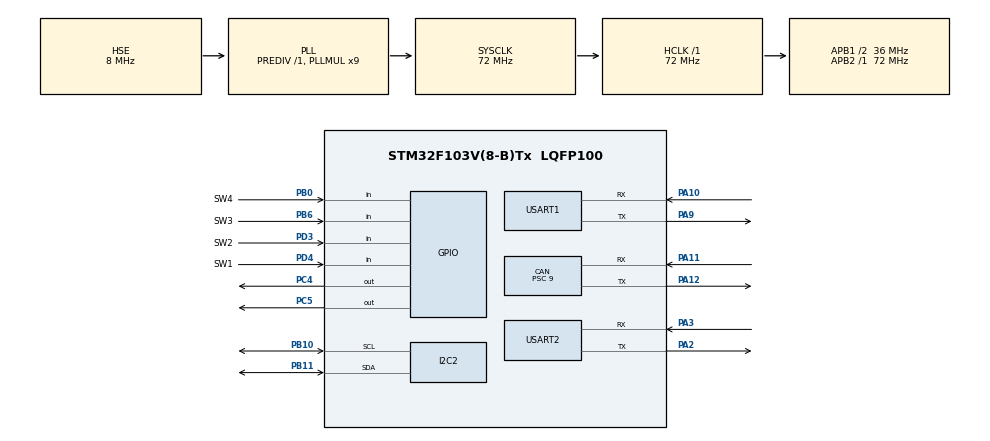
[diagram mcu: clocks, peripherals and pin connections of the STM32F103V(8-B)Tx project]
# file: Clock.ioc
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CAN.BS1=CAN_BS1_8TQ
CAN.BS2=CAN_BS2_7TQ
CAN.CalculateBaudRate=250000
CAN.CalculateTimeBit=4000
CAN.CalculateTimeQuantum=250.0
CAN.Prescaler=9
Mcu.Family=STM32F1
Mcu.Name=STM32F103V(8-B)Tx
Mcu.Package=LQFP100
NVIC.CAN1_RX1_IRQn=true\:0\:0\:false\:false\:true\:true\:true
NVIC.PriorityGroup=NVIC_PRIORITYGROUP_4
NVIC.TIM1_BRK_IRQn=true\:0\:0\:false\:false\:true\:true\:true
NVIC.TIM1_UP_IRQn=true\:0\:0\:false\:false\:true\:true\:true
NVIC.TIM2_IRQn=true\:0\:0\:false\:false\:true\:true\:true
NVIC.USART1_IRQn=true\:0\:0\:false\:false\:true\:true\:true
NVIC.USART2_IRQn=true\:0\:0\:false\:false\:true\:true\:true
NVIC.USB_LP_CAN1_RX0_IRQn=true\:0\:0\:false\:false\:true\:true\:true
OSC_IN.Mode=HSE-External-Oscillator
OSC_IN.Signal=RCC_OSC_IN
OSC_OUT.Mode=HSE-External-Oscillator
OSC_OUT.Signal=RCC_OSC_OUT
PA10.Mode=Asynchronous
PA10.Signal=USART1_RX
PA11.Mode=CAN_Activate
PA11.Signal=CAN_RX
PA12.Mode=CAN_Activate
PA12.Signal=CAN_TX
PA13.Mode=Serial_Wire
PA13.Signal=SYS_JTMS-SWDIO
PA14.Mode=Serial_Wire
PA14.Signal=SYS_JTCK-SWCLK
PA2.Mode=Asynchronous
PA2.Signal=USART2_TX
PA3.Mode=Asynchronous
PA3.Signal=USART2_RX
PA9.Mode=Asynchronous
PA9.Signal=USART1_TX
PB0.GPIO_Label=SW4
PB0.Signal=GPIO_Input
PB10.Mode=I2C
PB10.Signal=I2C2_SCL
PB11.Mode=I2C
PB11.Signal=I2C2_SDA
PB6.GPIO_Label=SW3
PB6.Signal=GPIO_Input
PC4.Signal=GPIO_Output
PC5.Signal=GPIO_Output
PD3.GPIO_Label=SW2
PD3.Signal=GPIO_Input
PD4.GPIO_Label=SW1
PD4.Signal=GPIO_Input
ProjectManager.HeapSize=0x200
ProjectManager.StackSize=0x400
ProjectManager.TargetToolchain=STM32CubeIDE
RCC.AHBFreq_Value=72000000
RCC.APB1CLKDivider=RCC_HCLK_DIV2
RCC.APB1Freq_Value=36000000
RCC.APB1TimFreq_Value=72000000
RCC.APB2Freq_Value=72000000
RCC.APB2TimFreq_Value=72000000
RCC.HCLKFreq_Value=72000000
RCC.PLLMUL=RCC_PLL_MUL9
RCC.PLLSourceVirtual=RCC_PLLSOURCE_HSE
RCC.SYSCLKFreq_VALUE=72000000
RCC.SYSCLKSource=RCC_SYSCLKSOURCE_PLLCLK
RCC.USBFreq_Value=72000000
TIM1.Channel-Output\ Compare1\ No\ Output=TIM_CHANNEL_1
TIM1.Period=59999
TIM1.Prescaler=1199
TIM2.Channel-Output\ Compare1\ No\ Output=TIM_CHANNEL_1
TIM2.Period=29999
TIM2.Prescaler=1199
USART1.VirtualMode=VM_ASYNC
USART2.VirtualMode=VM_ASYNC
VP_TIM1_VS_ClockSourceINT.Mode=Internal
VP_TIM1_VS_no_output1.Mode=Output Compare1 No Output
VP_TIM2_VS_ClockSourceINT.Mode=Internal
VP_TIM2_VS_no_output1.Mode=Output Compare1 No Output
board=custom

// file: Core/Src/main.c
/* USER CODE BEGIN Header */
/**
  ******************************************************************************
  * @file           : main.c
  * @brief          : Main program body
  ******************************************************************************
  * @attention
  *
  * <h2><center>&copy; Copyright (c) 2022 STMicroelectronics.
  * All rights reserved.</center></h2>
  *
  * This software component is licensed by ST under BSD 3-Clause license,
  * the "License"; You may not use this file except in compliance with the
  * License. You may obtain a copy of the License at:
  *                        opensource.org/licenses/BSD-3-Clause
  *
  ******************************************************************************
  */
/* USER CODE END Header */
#include "main.h"

/* USER CODE BEGIN Includes */
#include "can1.h"
#include "usart.h"
#include "ssd1306.h"
#include "ssd1306_tests.h"
#include <stdbool.h>
#include <stdio.h>
/* USER CODE END Includes */

CAN_HandleTypeDef hcan;

I2C_HandleTypeDef hi2c2;

TIM_HandleTypeDef htim1;
TIM_HandleTypeDef htim2;

UART_HandleTypeDef huart1;
UART_HandleTypeDef huart2;

/* USER CODE BEGIN PV */
int clockmode = 0;
int second = 0;
int minute = 0;
int hour = 0;
int year = 2022;
int month = 5;
int date = 29;
int alarm1[3]={0,0,0},alarm2[3]={0,0,0};
char line1[12],line2[12],line3[12];
int twinkle = 0;
/* USER CODE END PV */

void SystemClock_Config(void);
static void MX_GPIO_Init(void);
static void MX_I2C2_Init(void);
static void MX_TIM1_Init(void);
static void MX_TIM2_Init(void);
static void MX_CAN_Init(void);
static void MX_USART1_UART_Init(void);
static void MX_USART2_UART_Init(void);
/* USER CODE BEGIN PFP */
void mode_check();
void oled_show();
void show_time();
void show_calendar();
void show_alarm();
void show_set();
void show_error();
int check_date();
int check_sw();
void set_date();
/* USER CODE END PFP */

int main(void)
{

  /* MCU Configuration--------------------------------------------------------*/

  /* Reset of all peripherals, Initializes the Flash interface and the Systick. */
  HAL_Init();

  /* Configure the system clock */
  SystemClock_Config();

  /* Initialize all configured peripherals */
  MX_GPIO_Init();
  MX_I2C2_Init();
  MX_TIM1_Init();
  MX_TIM2_Init();
  MX_CAN_Init();
  MX_USART1_UART_Init();
  MX_USART2_UART_Init();
  /* USER CODE BEGIN 2 */
  RetargetInit(&huart1);//将printf()函数映射到UART1串口上
  HAL_UART_Receive_IT(&huart1,(uint8_t *)&USART1_NewData,1);//开启串口1接收中断
  HAL_UART_Receive_IT(&huart2,(uint8_t *)&USART2_NewData,1); //开启串口2接收中断
//HAL_CAN_MspDeInit(&hcan);//关闭CAN功能，使USB功能可被电脑识别（因USB与CAN共用RAM空间，不能同时使用）
  HAL_CAN_MspInit(&hcan);//开启CAN功能（因USB与CAN共用RAM，不能同时使用，USB用完后想用CAN可在CAN收发前打开）
  CAN_User_Init(&hcan);//CAN1总线用户层初始化 同时开启CAN1功能
  ssd1306_Init();
  HAL_TIM_Base_Start_IT(&htim1);
  HAL_TIM_Base_Start_IT(&htim2);
  /* USER CODE END 2 */

  /* Infinite loop */
  /* USER CODE BEGIN WHILE */
  while (1)
  {
	  mode_check();
	  oled_show();
    /* USER CODE END WHILE */

  }
}

void SystemClock_Config(void)
{
  RCC_OscInitTypeDef RCC_OscInitStruct = {0};
  RCC_ClkInitTypeDef RCC_ClkInitStruct = {0};

  /** Initializes the RCC Oscillators according to the specified parameters
  * in the RCC_OscInitTypeDef structure.
  */
  RCC_OscInitStruct.OscillatorType = RCC_OSCILLATORTYPE_HSE;
  RCC_OscInitStruct.HSEState = RCC_HSE_ON;
  RCC_OscInitStruct.HSEPredivValue = RCC_HSE_PREDIV_DIV1;
  RCC_OscInitStruct.HSIState = RCC_HSI_ON;
  RCC_OscInitStruct.PLL.PLLState = RCC_PLL_ON;
  RCC_OscInitStruct.PLL.PLLSource = RCC_PLLSOURCE_HSE;
  RCC_OscInitStruct.PLL.PLLMUL = RCC_PLL_MUL9;
  if (HAL_RCC_OscConfig(&RCC_OscInitStruct) != HAL_OK)
  {
    Error_Handler();
  }
  /** Initializes the CPU, AHB and APB buses clocks
  */
  RCC_ClkInitStruct.ClockType = RCC_CLOCKTYPE_HCLK|RCC_CLOCKTYPE_SYSCLK
                              |RCC_CLOCKTYPE_PCLK1|RCC_CLOCKTYPE_PCLK2;
  RCC_ClkInitStruct.SYSCLKSource = RCC_SYSCLKSOURCE_PLLCLK;
  RCC_ClkInitStruct.AHBCLKDivider = RCC_SYSCLK_DIV1;
  RCC_ClkInitStruct.APB1CLKDivider = RCC_HCLK_DIV2;
  RCC_ClkInitStruct.APB2CLKDivider = RCC_HCLK_DIV1;

  if (HAL_RCC_ClockConfig(&RCC_ClkInitStruct, FLASH_LATENCY_2) != HAL_OK)
  {
    Error_Handler();
  }
}

static void MX_CAN_Init(void)
{

  hcan.Instance = CAN1;
  hcan.Init.Prescaler = 9;
  hcan.Init.Mode = CAN_MODE_NORMAL;
  hcan.Init.SyncJumpWidth = CAN_SJW_1TQ;
  hcan.Init.TimeSeg1 = CAN_BS1_8TQ;
  hcan.Init.TimeSeg2 = CAN_BS2_7TQ;
  hcan.Init.TimeTriggeredMode = DISABLE;
  hcan.Init.AutoBusOff = DISABLE;
  hcan.Init.AutoWakeUp = DISABLE;
  hcan.Init.AutoRetransmission = DISABLE;
  hcan.Init.ReceiveFifoLocked = DISABLE;
  hcan.Init.TransmitFifoPriority = DISABLE;
  if (HAL_CAN_Init(&hcan) != HAL_OK)
  {
    Error_Handler();
  }

}

static void MX_I2C2_Init(void)
{

  hi2c2.Instance = I2C2;
  hi2c2.Init.ClockSpeed = 100000;
  hi2c2.Init.DutyCycle = I2C_DUTYCYCLE_2;
  hi2c2.Init.OwnAddress1 = 0;
  hi2c2.Init.AddressingMode = I2C_ADDRESSINGMODE_7BIT;
  hi2c2.Init.DualAddressMode = I2C_DUALADDRESS_DISABLE;
  hi2c2.Init.OwnAddress2 = 0;
  hi2c2.Init.GeneralCallMode = I2C_GENERALCALL_DISABLE;
  hi2c2.Init.NoStretchMode = I2C_NOSTRETCH_DISABLE;
  if (HAL_I2C_Init(&hi2c2) != HAL_OK)
  {
    Error_Handler();
  }

}

static void MX_TIM1_Init(void)
{

  TIM_ClockConfigTypeDef sClockSourceConfig = {0};
  TIM_MasterConfigTypeDef sMasterConfig = {0};
  TIM_OC_InitTypeDef sConfigOC = {0};
  TIM_BreakDeadTimeConfigTypeDef sBreakDeadTimeConfig = {0};

  htim1.Instance = TIM1;
  htim1.Init.Prescaler = 1199;
  htim1.Init.CounterMode = TIM_COUNTERMODE_UP;
  htim1.Init.Period = 59999;
  htim1.Init.ClockDivision = TIM_CLOCKDIVISION_DIV1;
  htim1.Init.RepetitionCounter = 0;
  htim1.Init.AutoReloadPreload = TIM_AUTORELOAD_PRELOAD_DISABLE;
  if (HAL_TIM_Base_Init(&htim1) != HAL_OK)
  {
    Error_Handler();
  }
  sClockSourceConfig.ClockSource = TIM_CLOCKSOURCE_INTERNAL;
  if (HAL_TIM_ConfigClockSource(&htim1, &sClockSourceConfig) != HAL_OK)
  {
    Error_Handler();
  }
  if (HAL_TIM_OC_Init(&htim1) != HAL_OK)
  {
    Error_Handler();
  }
  sMasterConfig.MasterOutputTrigger = TIM_TRGO_RESET;
  sMasterConfig.MasterSlaveMode = TIM_MASTERSLAVEMODE_DISABLE;
  if (HAL_TIMEx_MasterConfigSynchronization(&htim1, &sMasterConfig) != HAL_OK)
  {
    Error_Handler();
  }
  sConfigOC.OCMode = TIM_OCMODE_TIMING;
  sConfigOC.Pulse = 0;
  sConfigOC.OCPolarity = TIM_OCPOLARITY_HIGH;
  sConfigOC.OCNPolarity = TIM_OCNPOLARITY_HIGH;
  sConfigOC.OCFastMode = TIM_OCFAST_DISABLE;
  sConfigOC.OCIdleState = TIM_OCIDLESTATE_RESET;
  sConfigOC.OCNIdleState = TIM_OCNIDLESTATE_RESET;
  if (HAL_TIM_OC_ConfigChannel(&htim1, &sConfigOC, TIM_CHANNEL_1) != HAL_OK)
  {
    Error_Handler();
  }
  sBreakDeadTimeConfig.OffStateRunMode = TIM_OSSR_DISABLE;
  sBreakDeadTimeConfig.OffStateIDLEMode = TIM_OSSI_DISABLE;
  sBreakDeadTimeConfig.LockLevel = TIM_LOCKLEVEL_OFF;
  sBreakDeadTimeConfig.DeadTime = 0;
  sBreakDeadTimeConfig.BreakState = TIM_BREAK_DISABLE;
  sBreakDeadTimeConfig.BreakPolarity = TIM_BREAKPOLARITY_HIGH;
  sBreakDeadTimeConfig.AutomaticOutput = TIM_AUTOMATICOUTPUT_DISABLE;
  if (HAL_TIMEx_ConfigBreakDeadTime(&htim1, &sBreakDeadTimeConfig) != HAL_OK)
  {
    Error_Handler();
  }

}

static void MX_TIM2_Init(void)
{

  TIM_ClockConfigTypeDef sClockSourceConfig = {0};
  TIM_MasterConfigTypeDef sMasterConfig = {0};
  TIM_OC_InitTypeDef sConfigOC = {0};

  htim2.Instance = TIM2;
  htim2.Init.Prescaler = 1199;
  htim2.Init.CounterMode = TIM_COUNTERMODE_UP;
  htim2.Init.Period = 29999;
  htim2.Init.ClockDivision = TIM_CLOCKDIVISION_DIV1;
  htim2.Init.AutoReloadPreload = TIM_AUTORELOAD_PRELOAD_DISABLE;
  if (HAL_TIM_Base_Init(&htim2) != HAL_OK)
  {
    Error_Handler();
  }
  sClockSourceConfig.ClockSource = TIM_CLOCKSOURCE_INTERNAL;
  if (HAL_TIM_ConfigClockSource(&htim2, &sClockSourceConfig) != HAL_OK)
  {
    Error_Handler();
  }
  if (HAL_TIM_OC_Init(&htim2) != HAL_OK)
  {
    Error_Handler();
  }
  sMasterConfig.MasterOutputTrigger = TIM_TRGO_RESET;
  sMasterConfig.MasterSlaveMode = TIM_MASTERSLAVEMODE_DISABLE;
  if (HAL_TIMEx_MasterConfigSynchronization(&htim2, &sMasterConfig) != HAL_OK)
  {
    Error_Handler();
  }
  sConfigOC.OCMode = TIM_OCMODE_TIMING;
  sConfigOC.Pulse = 0;
  sConfigOC.OCPolarity = TIM_OCPOLARITY_HIGH;
  sConfigOC.OCFastMode = TIM_OCFAST_DISABLE;
  if (HAL_TIM_OC_ConfigChannel(&htim2, &sConfigOC, TIM_CHANNEL_1) != HAL_OK)
  {
    Error_Handler();
  }

}

static void MX_USART1_UART_Init(void)
{

  huart1.Instance = USART1;
  huart1.Init.BaudRate = 115200;
  huart1.Init.WordLength = UART_WORDLENGTH_8B;
  huart1.Init.StopBits = UART_STOPBITS_1;
  huart1.Init.Parity = UART_PARITY_NONE;
  huart1.Init.Mode = UART_MODE_TX_RX;
  huart1.Init.HwFlowCtl = UART_HWCONTROL_NONE;
  huart1.Init.OverSampling = UART_OVERSAMPLING_16;
  if (HAL_UART_Init(&huart1) != HAL_OK)
  {
    Error_Handler();
  }

}

static void MX_USART2_UART_Init(void)
{

  huart2.Instance = USART2;
  huart2.Init.BaudRate = 115200;
  huart2.Init.WordLength = UART_WORDLENGTH_8B;
  huart2.Init.StopBits = UART_STOPBITS_1;
  huart2.Init.Parity = UART_PARITY_NONE;
  huart2.Init.Mode = UART_MODE_TX_RX;
  huart2.Init.HwFlowCtl = UART_HWCONTROL_NONE;
  huart2.Init.OverSampling = UART_OVERSAMPLING_16;
  if (HAL_UART_Init(&huart2) != HAL_OK)
  {
    Error_Handler();
  }

}

static void MX_GPIO_Init(void)
{
  GPIO_InitTypeDef GPIO_InitStruct = {0};

  /* GPIO Ports Clock Enable */
  __HAL_RCC_GPIOA_CLK_ENABLE();
  __HAL_RCC_GPIOC_CLK_ENABLE();
  __HAL_RCC_GPIOB_CLK_ENABLE();
  __HAL_RCC_GPIOD_CLK_ENABLE();

  /*Configure GPIO pin Output Level */
  HAL_GPIO_WritePin(GPIOC, GPIO_PIN_4|GPIO_PIN_5, GPIO_PIN_RESET);

  /*Configure GPIO pins : PC4 PC5 */
  GPIO_InitStruct.Pin = GPIO_PIN_4|GPIO_PIN_5;
  GPIO_InitStruct.Mode = GPIO_MODE_OUTPUT_PP;
  GPIO_InitStruct.Pull = GPIO_NOPULL;
  GPIO_InitStruct.Speed = GPIO_SPEED_FREQ_LOW;
  HAL_GPIO_Init(GPIOC, &GPIO_InitStruct);

  /*Configure GPIO pins : SW4_Pin SW3_Pin */
  GPIO_InitStruct.Pin = SW4_Pin|SW3_Pin;
  GPIO_InitStruct.Mode = GPIO_MODE_INPUT;
  GPIO_InitStruct.Pull = GPIO_NOPULL;
  HAL_GPIO_Init(GPIOB, &GPIO_InitStruct);

  /*Configure GPIO pins : SW2_Pin SW1_Pin */
  GPIO_InitStruct.Pin = SW2_Pin|SW1_Pin;
  GPIO_InitStruct.Mode = GPIO_MODE_INPUT;
  GPIO_InitStruct.Pull = GPIO_NOPULL;
  HAL_GPIO_Init(GPIOD, &GPIO_InitStruct);

}

/* USER CODE BEGIN 4 */
void mode_check(){
	int temp = check_sw();
	if(temp == 0 && CAN1_RX_STA == 0)return;
	int sw = temp;
	CAN1_printf("%d",sw);
	if(CAN1_RX_STA!=0)//CAN判断中断接收标志位【处理从CAN外部设备接收的字符】
	{
		sw = CAN1_RX_BUF[0] - 48;
		CAN1_RX_STA = 0;
	}
	if(sw == 1){
		if(clockmode == 0 || clockmode == 1){
			clockmode++;
		}
		else
		{
			clockmode = 0;
		}
	}

	//setmode
	if(sw == 4){
		if(clockmode == 0){
			//set_time
			clockmode = 3;
		}
		else if(clockmode == 1){
			//set_calendar
			clockmode = 4;
		}

		else if(clockmode == 2){
			//set alarm
			clockmode = 5;
		}
	}
	return;
}

void oled_show(){
	//clock mode
	if(clockmode == 0){
		show_time();
	}
	//calendar mode
	else if(clockmode == 1){
		show_calendar();
	}
	//alarm mode
	else if(clockmode == 2){
		show_alarm();
	}
	//set mode
	else if(clockmode == 3 || clockmode == 4 || clockmode == 5){
		show_set();
	}
	//error mode
	else if(clockmode == 6){
		show_error();
	}
	//unnormal
	else {
		clockmode = CAN1_RX_BUF[0];
	}

	ssd1306_Fill(Black);
	ssd1306_SetCursor(2,0);
	ssd1306_WriteString(line1, Font_11x18, White);
	ssd1306_SetCursor(2,18);
	ssd1306_WriteString(line2, Font_11x18, White);
	ssd1306_SetCursor(2,36);
	ssd1306_WriteString(line3, Font_11x18, White);
	ssd1306_UpdateScreen();
	return;
}

void show_time(){
	sprintf(line1,"    time   ");
	sprintf(line2," %2d:%2d:%2d ",hour,minute,second);
	sprintf(line3,"           ");
}

void show_alarm(){
	sprintf(line1,"   alarm   ");
	if(alarm1[0]) sprintf(line1,"1.%2d:%2d  ON",alarm1[1],alarm1[2]);
	else sprintf(line2,"1.%2d:%2d OFF",alarm1[1],alarm1[2]);

	if(alarm2[0]) sprintf(line2,"2.%2d:%2d  ON",alarm2[1],alarm2[2]);
	else sprintf(line3,"2.%2d:%2d OFF",alarm2[1],alarm2[2]);
}

void show_calendar(){
	sprintf(line1,"  calendar ");
	sprintf(line2," %4d.%d.%2d",year,month,date);
	sprintf(line3,"           ");
}

void show_set(int set){
	int sw = check_sw();
	static int unit = 2;
	static int unit1 = 0;

	//change set unit
	if(sw == 4){
		if(unit < 2) unit++;
		else unit = 0;
	}

	if(sw == 4){

	}

	//set time
	if(clockmode == 3){
		sprintf(line1,"    time   ");

		//set time of hour
		if(unit == 0){
			if(twinkle == 0)sprintf(line2," %2d:%2d:%2d ",hour,minute,second);
			else sprintf(line2,"   :%2d:%2d ",minute,second);
			if(sw == 3){
				if(hour < 24)hour++;
				else hour = 0;
			}
			else if(sw == 2){
				if(hour > 0)hour--;
				else hour = 0;
			}
		}

		//set time of minute
		else if(unit == 1){
			if(twinkle == 0)sprintf(line2," %2d:%2d:%2d ",hour,minute,second);
			else sprintf(line2," %2d:  :%2d ",hour,second);
			if(sw == 3){
				if(minute < 60)minute++;
				else minute = 0;
			}
			else if(sw == 2){
				if(minute > 0)minute--;
				else minute = 0;
			}
		}

		//set time of second
		else if(unit == 2){
			if(twinkle == 0)sprintf(line2," %2d:%2d:%2d ",hour,minute,second);
			else sprintf(line2," %2d:%2d:   ",hour,minute);
			if(sw == 3){
				second = 0;
				minute++;
				if(minute == 60){
					minute = 0;
					hour++;
				}
			}
			else if(sw == 2){
				second = 0;
			}
		}
		sprintf(line3,"           ");

	}

	//set calendar
	else if(clockmode == 4){

	}

	//set alarm
	else if(clockmode == 5){
		if(unit1 == 0){

		}
	}

}

void show_error(){
	sprintf(line1,"time error ");
	sprintf(line2,"           ");
	sprintf(line3,"           ");
}

int check_date(){
	return 0;
}

//check which sw is pressed
int check_sw(){
	//check if sw1 is pressed
	if(HAL_GPIO_ReadPin(GPIOD, SW1_Pin)){
		HAL_Delay(10);
		if(HAL_GPIO_ReadPin(GPIOD, SW1_Pin)){
			return 1;
		}
	}

	//check if sw2 is pressed
	if(HAL_GPIO_ReadPin(GPIOD, SW2_Pin)){
		HAL_Delay(10);
		if(HAL_GPIO_ReadPin(GPIOD, SW2_Pin)){
			return 2;
		}
	}

	//check if sw3 is pressed
	if(HAL_GPIO_ReadPin(GPIOB, SW3_Pin)){
		HAL_Delay(10);
		if(HAL_GPIO_ReadPin(GPIOB, SW3_Pin)){
			return 3;
		}
	}

	//check if sw4 is pressed
	if(HAL_GPIO_ReadPin(GPIOB, SW4_Pin)){
		HAL_Delay(10);
		if(HAL_GPIO_ReadPin(GPIOB, SW4_Pin)){
			return 4;
		}
	}
	return 0;
}

//set the date right
void set_date(){

}

void HAL_TIM_PeriodElapsedCallback(TIM_HandleTypeDef *htim)
{

    if(htim == (&htim2)){
    	if(twinkle == 0){
    		twinkle = 1;
    	}
    	else twinkle = 0;
    }

    if (htim == (&htim1))
    {
    	HAL_GPIO_TogglePin(GPIOC, GPIO_PIN_4);
    	HAL_GPIO_TogglePin(GPIOC, GPIO_PIN_5);
    	//not set_mode and error_mode
    		second++;
    		if(second >= 60){
    			second = 0;
    			minute++;
    		}
    		if(minute>=60){
    			minute = 0;
    			hour++;
    		}
    		if(hour >= 24){
    			hour=0;
    			date++;
    			set_date();
    		}
    }
    return;
}
/* USER CODE END 4 */

void Error_Handler(void)
{
  __disable_irq();
  while (1)
  {
  }
}

/************************ (C) COPYRIGHT STMicroelectronics *****END OF FILE****/
